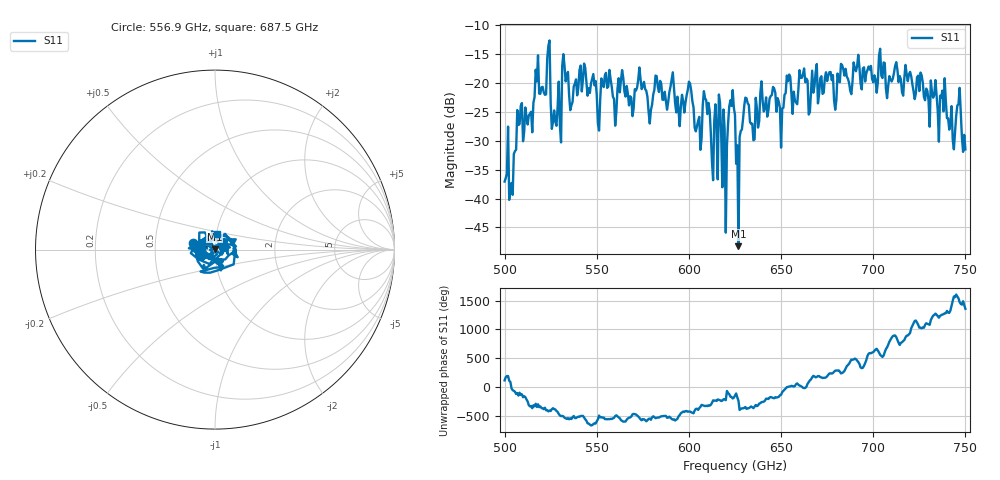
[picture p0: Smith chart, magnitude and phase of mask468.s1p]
!Created with skrf (http://scikit-rf.org).
# GHz S MA R 50.0
!freq magS11 angS11
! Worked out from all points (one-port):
!   401 points, 500 GHz to 750 GHz, reference 50 ohm
!   lowest |S11| = -48.2 dB at 626.9 GHz (marker M1), VSWR 1.01, Z = 49.8 + j0.321 ohm
!   |S11| at or under -10 dB: start of sweep to end of sweep
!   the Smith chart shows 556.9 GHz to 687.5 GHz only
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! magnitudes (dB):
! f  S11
! 500 GHz  -37.1
! 503.8 GHz  -37.3
! 508.1 GHz  -27.1
! 513.8 GHz  -25.3
! 517.5 GHz  -19.7
! 523.8 GHz  -13.6
! 526.9 GHz  -24.8
! 531.2 GHz  -17.0
! 562.5 GHz  -21.6
! 593.8 GHz  -22.4
! 600 GHz  -19.8
! 605.6 GHz  -25.9
! 609.4 GHz  -23.0
! 612.5 GHz  -33.6
! 617.5 GHz  -28.8
! 619.4 GHz  -28.0
! 622.5 GHz  -23.0
! 625 GHz  -25.6
! 626.9 GHz  -48.2
! 631.2 GHz  -22.7
! 634.4 GHz  -27.1
! 656.2 GHz  -25.4
! 687.5 GHz  -21.3
! 718.8 GHz  -19.7
! 738.1 GHz  -24.9
! 742.5 GHz  -24.0
! 746.2 GHz  -23.7
! 750 GHz  -31.5
